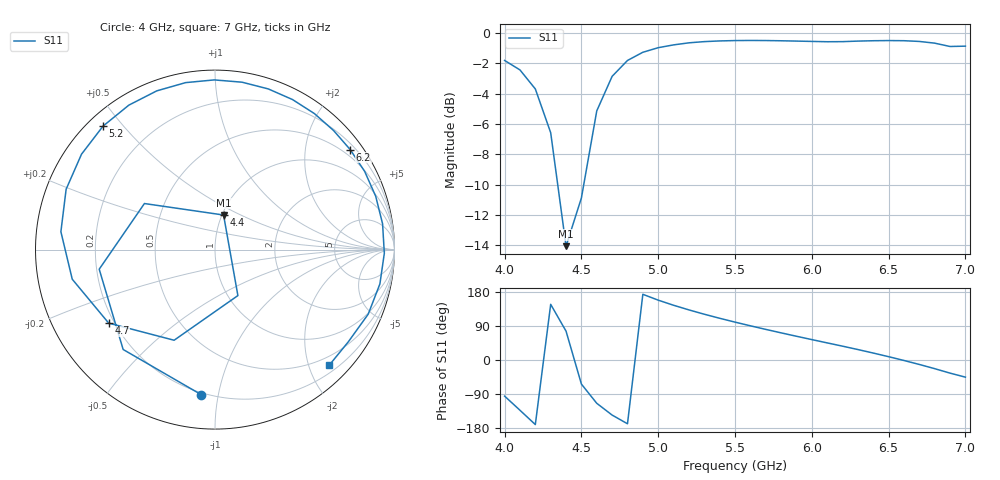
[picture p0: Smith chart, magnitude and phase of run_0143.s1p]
! Touchstone file exported from HFSS 2024.2.0
!  File:  C:/Users/wsak9/Desktop/Sim Fast/Widenad Patch/WP_AI_V1_sweep.aedt
!  Generated:  08:53:23 PM Oct 13, 2026
!  Design:  A1_model
!  Project:  WP_AI_V1_sweep
!  Setup:  Setup1
!  Solution:  Sweep
! Variables:
!  Air_gap = 2.67mm
!  Curve_Amp1 = 1.44
!  Curve_len1 = 1
!  Curve_pos = 12.79mm
!  Extra = 6.45mm
!  H_sub = 0.79mm
!  L_Patch = 21.58mm
!  L_Patch1 = 15.65mm
!  Sx = 1.81mm
!  Sy = 2.49mm
!  WS = 0.35mm
!  W_Patch = 18.18mm
!  W_Patch1 = 9.2mm
!Data is not renormalized
# GHz S MA
! Terminal data exported
! Port[1] = 1
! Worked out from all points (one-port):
!   31 points, 4 GHz to 7 GHz, reference per port
!   lowest |S11| = -14.0 dB at 4.4 GHz (marker M1), VSWR 1.50
!   |S11| at or under -10 dB: 4.346 GHz to 4.515 GHz (169.2 MHz wide, 3.82 % of centre)
!   S11 on the Smith chart (normalised r, x): 4 GHz: 0.19, -0.89; 4.4 GHz: 1.02, +0.41; 4.7 GHz: 0.18, -0.30; 5.2 GHz: 0.04, +0.44; 6.2 GHz: 0.33, +3.00; 7 GHz: 0.33, -2.36
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4  0.8123 -95.3
4.1  0.756 -132.6
4.2  0.6543 -170.4
4.3  0.4695 146.9
4.4  0.1985 76.1
4.5  0.2862 -63.5
4.6  0.554 -114.3
4.7  0.7201 -145.3
4.8  0.8123 -168.3
4.9  0.8644 173.4
5  0.895 157.9
5.1  0.9141 144.5
5.2  0.9286 132.2
5.3  0.9371 120.8
5.4  0.942 110.1
5.5  0.9446 100.0
5.6  0.9454 90.2
5.7  0.9448 80.8
5.9  0.9409 62.7
6  0.9386 53.9
6.2  0.9369 36.5
6.3  0.9409 27.6
6.5  0.9446 8.8
6.6  0.9436 -1.2
6.7  0.9384 -11.8
6.8  0.9263 -22.9
6.9  0.9031 -34.6
7  0.9054 -45.2
